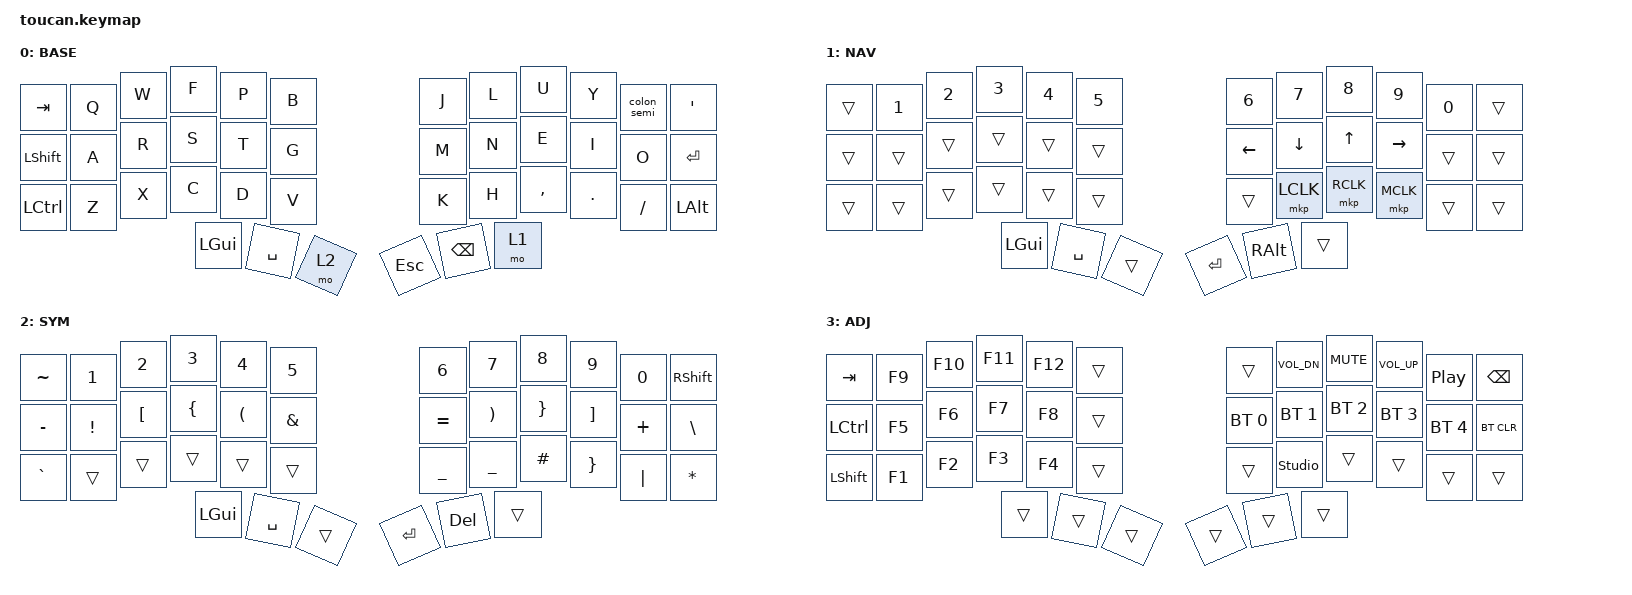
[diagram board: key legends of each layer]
#include <behaviors.dtsi>
#include <dt-bindings/zmk/keys.h>
#include <dt-bindings/zmk/bt.h>
#include <dt-bindings/zmk/outputs.h>
#include <dt-bindings/zmk/pointing.h>

#define BASE 0
#define NAV  1
#define SYM  2
#define ADJ  3

/ {
    conditional_layers {
        compatible = "zmk,conditional-layers";
        tri_layer {
            if-layers = <1 2>;
            then-layer = <3>;
        };
    };

    keymap {
        compatible = "zmk,keymap";

        base {
            display-name = "BASE";
            bindings = <
                &kp TAB   &kp Q &kp W &kp F &kp P &kp B   &kp J &kp L  &kp U     &kp Y   &colon_semi &kp SQT
                &kp LSHFT &kp A &kp R &kp S &kp T &kp G   &kp M &kp N  &kp E     &kp I   &kp O       &kp ENTER
                &kp LCTRL &kp Z &kp X &kp C &kp D &kp V   &kp K &kp H  &kp COMMA &kp DOT &kp FSLH    &kp LALT
                                &kp LGUI &kp SPACE &mo 2  &kp ESC &kp BSPC &mo 1 
            >;
        };

        nav {
            display-name = "NAV";
            bindings = <
                &trans      &kp N1          &kp N2       &kp N3       &kp N4       &kp N5         &kp N6   &kp N7    &kp N8    &kp N9    &kp N0 &trans
                &trans      &trans          &trans       &trans       &trans       &trans         &kp LEFT &kp DOWN  &kp UP    &kp RIGHT &trans &trans
                &trans      &trans          &trans       &trans       &trans       &trans         &trans   &mkp LCLK &mkp RCLK &mkp MCLK &trans &trans
                                                &kp LGUI       &kp SPACE     &trans      &kp RET   &kp RALT  &trans
            >;
        };

        sym {
            display-name = "SYM";
            bindings = <
                &kp TILDE &kp N1   &kp N2   &kp N3   &kp N4   &kp N5      &kp N6    &kp N7   &kp N8   &kp N9   &kp N0   &kp RSHIFT
                &kp MINUS &kp EXCL &kp LBKT &kp LBRC &kp LPAR &kp AMPS    &kp EQUAL &kp RPAR &kp RBRC &kp RBKT &kp PLUS &kp BSLH
                &kp GRAVE &trans   &trans   &trans   &trans   &trans      &kp UNDER &kp UNDER &kp HASH &kp RBRC &kp PIPE &kp STAR
                                          &kp LGUI &kp SPACE   &trans   &kp RET   &kp DELETE    &trans
            >;
        };

        adj {
            display-name = "ADJ";
            bindings = <
                &kp TAB   &kp F9 &kp F10 &kp F11 &kp F12 &trans   &trans       &kp C_VOL_DN &kp C_MUTE   &kp C_VOL_UP &kp C_PLAY_PAUSE &kp BSPC
                &kp LCTRL &kp F5 &kp F6  &kp F7  &kp F8  &trans   &bt BT_SEL 0 &bt BT_SEL 1 &bt BT_SEL 2 &bt BT_SEL 3 &bt BT_SEL 4     &bt BT_CLR
                &kp LSHFT &kp F1 &kp F2  &kp F3  &kp F4  &trans   &trans       &studio_unlock &trans     &trans       &trans           &trans
                                   &trans &trans &trans           &trans &trans &trans
            >;
        };
        extra_1 {
                status = "reserved";
        };

        extra_2 {
                status = "reserved";
        };

        extra_3 {
                status = "reserved";
        };
    };
    behaviors {
        colon_semi: colon_semicolon {
            compatible = "zmk,behavior-mod-morph";
            #binding-cells = <0>;
            bindings = <&kp COLON>, <&kp SEMI>;
            mods = <(MOD_LSFT|MOD_RSFT)>;
            keep-mods = <(MOD_RSFT)>;
        };
    };
};
